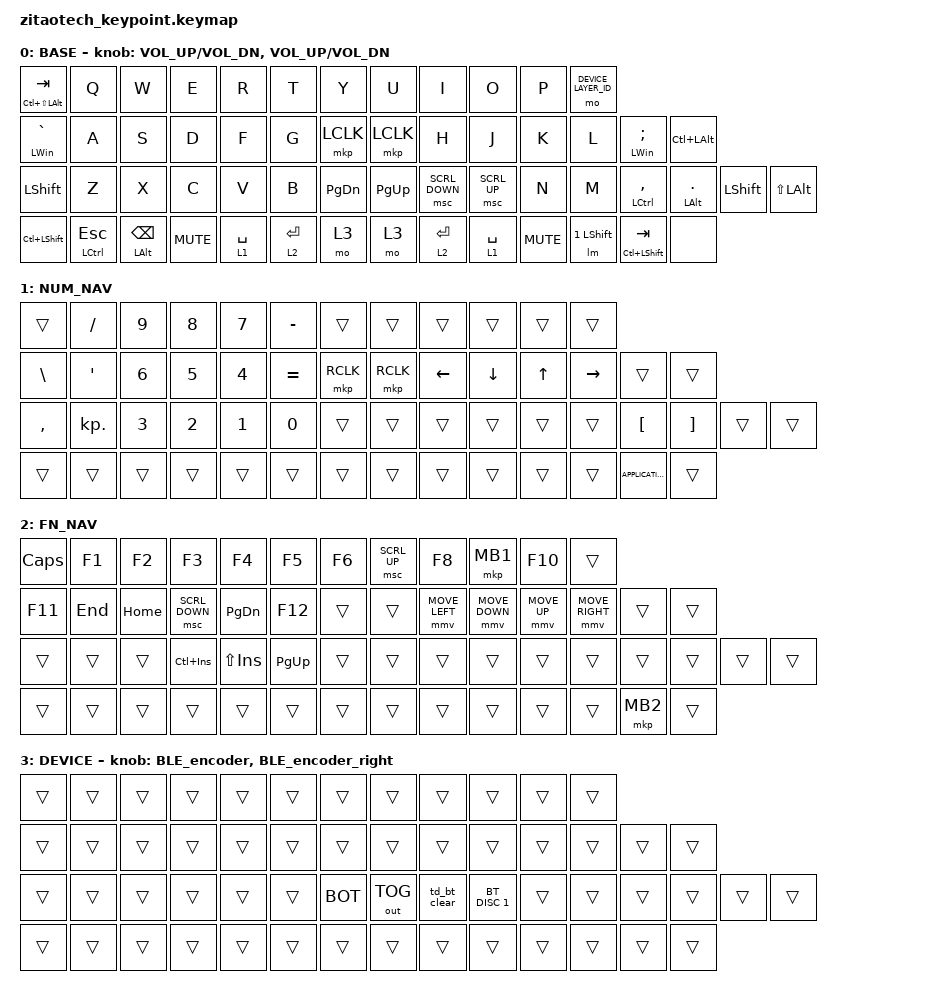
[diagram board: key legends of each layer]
/*
 * Copyright (c) 2025 ZitaoTech
 *
 * SPDX-License-Identifier: MIT
 */

#include <dt-bindings/zmk/mouse.h>
#include <behaviors.dtsi>
#include <dt-bindings/zmk/bt.h>
#include <dt-bindings/zmk/keys.h>
#include <dt-bindings/zmk/outputs.h>
#include <dt-bindings/zmk/pointing.h>

#define LOWER 1
#define RAISE 2
#define DEVICE_LAYER_ID 3
#define BOT bootloader

/ {
    behaviors {
        td0: tap_dance_0 {
            compatible = "zmk,behavior-tap-dance";
            #binding-cells = <0>;
            tapping-term-ms = <400>;
            bindings = <&mkp LCLK>, <&bt BT_CLR>;
        };
    };

    // Double tap in the DEVICE layer to clear only the active BT profile.
    behaviors {
        td_bt_clear: tap_dance_bt_clear {
            compatible = "zmk,behavior-tap-dance";
            #binding-cells = <0>;
            tapping-term-ms = <400>;
            bindings = <&none>, <&bt BT_CLR>;
        };
    };

    behaviors {
        tdRMCLK: tap_dance_R_LMouse {
            compatible = "zmk,behavior-tap-dance";
            #binding-cells = <0>;
            tapping-term-ms = <400>;
            bindings = <&mkp RCLK>, <&mkp MCLK>;
        };
    };

    behaviors {
        hm: homerow_mods {
            compatible = "zmk,behavior-hold-tap";
            #binding-cells = <2>;
            tapping-term-ms = <500>;
            bindings = <&kp &kp>;
        };
    };

    behaviors {
        LMouse_sc: behavior_LMouse_Scroll {
            compatible = "zmk,behavior-hold-tap";
            #binding-cells = <2>;
            flavor = "tap-preferred";     /* 单击优先 */
            tapping-term-ms = <200>;       /* 长按阈值 */
            bindings = <&none &mkp>;        /* hold=none, tap=Lmouse */
        };
    };

    behaviors {
        M_kp: behavior_mouse_keypress {
            compatible = "zmk,behavior-hold-tap";
            #binding-cells = <2>;
            flavor = "tap-preferred";     /* 单击优先 */
            tapping-term-ms = <200>;       /* 长按阈值 */
            bindings = <&mkp &kp>;        /* hold=mou key press, tap=key*/
        };
    };

    behaviors {
        BLE_encoder: BLE_encoder {
            compatible = "zmk,behavior-sensor-rotate";
            #sensor-binding-cells = <0>;
            bindings = <&bt BT_NXT>, <&bt BT_PRV>;
        };
    };

    // Right encoder reports the opposite physical rotation direction.
    behaviors {
        BLE_encoder_right: BLE_encoder_right {
            compatible = "zmk,behavior-sensor-rotate";
            #sensor-binding-cells = <0>;
            bindings = <&bt BT_PRV>, <&bt BT_NXT>;
        };
    };

    macros {
        lm: lm {
            compatible = "zmk,behavior-macro-two-param";
            wait-ms = <0>;
            tap-ms = <0>;
            #binding-cells = <2>;
            bindings =
                <&macro_param_1to1>,
                <&macro_press>,
                <&mo MACRO_PLACEHOLDER &macro_param_2to1>,
                <&macro_press>,
                <&kp MACRO_PLACEHOLDER>,
                <&macro_pause_for_release>,
                <&macro_param_2to1>,
                <&macro_release>,
                <&kp MACRO_PLACEHOLDER &macro_param_1to1>,
                <&macro_release>,
                <&mo MACRO_PLACEHOLDER>;
        };
    };

    keymap {
        compatible = "zmk,keymap";

        // Rotary push buttons: position 45 = left; position 52 = right (zero-based).
        BASE {
            display-name = "BASE";
            bindings = <
&mt LC(LS(LALT)) TAB  &kp Q             &kp W               &kp E       &kp R        &kp T        &kp Y      &kp U      &kp I           &kp O         &kp P  &mo DEVICE_LAYER_ID
&mt LEFT_WIN GRAVE            &kp A             &kp S               &kp D       &kp F        &kp G        &mkp LCLK  &mkp LCLK  &kp H           &kp J         &kp K  &kp L         &mt LEFT_WIN SEMI       &kp LC(LEFT_ALT)
&kp LSHFT                     &kp Z             &kp X               &kp C       &kp V        &kp B        &kp PG_DN  &kp PG_UP  &msc SCRL_DOWN  &msc SCRL_UP  &kp N  &kp M         &mt LCTRL COMMA         &mt LEFT_ALT DOT  &kp LEFT_SHIFT  &kp LS(LALT)
&kp LC(LEFT_SHIFT)            &mt LCTRL ESCAPE  &mt LALT BACKSPACE  &kp C_MUTE  &lt 1 SPACE  &lt 2 ENTER  &mo 3      &mo 3      &lt 2 ENTER     &lt 1 SPACE   &kp C_MUTE  &lm 1 LSHIFT  &mt LC(LEFT_SHIFT) TAB  &none
            >;

            // Sensor order: left encoder, right encoder.
            sensor-bindings = <&inc_dec_kp C_VOL_UP C_VOL_DN &inc_dec_kp C_VOL_UP C_VOL_DN>;
        };

        NUM_NAV {
            display-name = "NUM_NAV";
            bindings = <
&trans     &kp SLASH         &kp NUMBER_9  &kp NUMBER_8  &kp NUMBER_7  &kp MINUS     &trans     &trans     &trans    &trans    &trans        &trans
&kp BSLH   &kp SINGLE_QUOTE  &kp N6        &kp NUMBER_5  &kp N4        &kp EQUAL     &mkp RCLK  &mkp RCLK  &kp LEFT  &kp DOWN  &kp UP_ARROW  &kp RIGHT  &trans             &trans
&kp COMMA  &kp KP_DOT        &kp N3        &kp N2        &kp N1        &kp NUMBER_0  &trans     &trans     &trans    &trans    &trans        &trans     &kp LBKT           &kp RBKT  &trans  &trans
&trans     &trans            &trans        &trans        &trans        &trans        &trans     &trans     &trans    &trans    &trans        &trans     &kp K_APPLICATION  &trans
            >;
            // No sensor-bindings: inherit rotations from the active lower layer.
        };

        FN_NAV {
            display-name = "FN_NAV";
            bindings = <
&kp CAPS  &kp F1   &kp F2    &kp F3          &kp F4          &kp F5       &kp F6  &msc SCRL_UP  &kp F8          &mkp MB1        &kp F10       &trans
&kp F11   &kp END  &kp HOME  &msc SCRL_DOWN  &kp PAGE_DOWN   &kp F12      &trans  &trans        &mmv MOVE_LEFT  &mmv MOVE_DOWN  &mmv MOVE_UP  &mmv MOVE_RIGHT  &trans    &trans
&trans    &trans   &trans    &kp LC(INSERT)  &kp LS(INSERT)  &kp PAGE_UP  &trans  &trans        &trans          &trans          &trans        &trans           &trans    &trans  &trans  &trans
&trans    &trans   &trans    &trans          &trans          &trans       &trans  &trans        &trans          &trans          &trans        &trans           &mkp MB2  &trans
            >;
        };

        DEVICE {
            display-name = "DEVICE";
            bindings = <
&trans  &trans  &trans  &trans  &trans  &trans  &trans  &trans  &trans  &trans  &trans  &trans
&trans  &trans  &trans  &trans  &trans  &trans  &trans  &trans  &trans  &trans  &trans  &trans  &trans  &trans
&trans  &trans  &trans  &trans  &trans  &trans  &BOT  &out OUT_TOG  &td_bt_clear  &bt BT_DISC 1  &trans  &trans  &trans  &trans  &trans  &trans
&trans  &trans  &trans  &trans  &trans  &trans  &trans  &trans  &trans  &trans  &trans  &trans  &trans  &trans
            >;

            sensor-bindings = <&BLE_encoder &BLE_encoder_right>;
        };

    };
};
